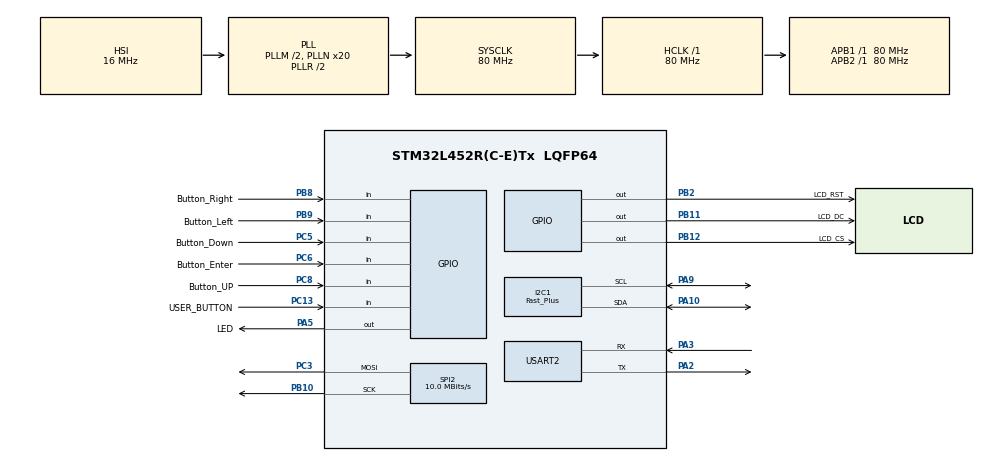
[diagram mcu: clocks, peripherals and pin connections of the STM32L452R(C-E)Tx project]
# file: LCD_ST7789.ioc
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Dma.Request0=SPI2_TX
Dma.SPI2_TX.0.Direction=DMA_MEMORY_TO_PERIPH
Dma.SPI2_TX.0.Instance=DMA1_Channel5
Dma.SPI2_TX.0.MemDataAlignment=DMA_MDATAALIGN_BYTE
Dma.SPI2_TX.0.MemInc=DMA_MINC_ENABLE
Dma.SPI2_TX.0.Mode=DMA_NORMAL
Dma.SPI2_TX.0.PeriphDataAlignment=DMA_PDATAALIGN_BYTE
Dma.SPI2_TX.0.PeriphInc=DMA_PINC_DISABLE
Dma.SPI2_TX.0.Priority=DMA_PRIORITY_LOW
I2C1.Analog_Filter=I2C_ANALOGFILTER_DISABLE
I2C1.I2C_Speed_Mode=I2C_Fast_Plus
I2C1.Timing=0x00301238
Mcu.Family=STM32L4
Mcu.Name=STM32L452R(C-E)Tx
Mcu.Package=LQFP64
NVIC.DMA1_Channel5_IRQn=true\:0\:0\:false\:false\:true\:false\:true\:true
NVIC.PriorityGroup=NVIC_PRIORITYGROUP_4
PA10.Mode=I2C
PA10.Signal=I2C1_SDA
PA13\ (JTMS/SWDIO).Mode=Serial_Wire
PA13\ (JTMS/SWDIO).Signal=SYS_JTMS-SWDIO
PA14\ (JTCK/SWCLK).Mode=Serial_Wire
PA14\ (JTCK/SWCLK).Signal=SYS_JTCK-SWCLK
PA2.Mode=Asynchronous
PA2.Signal=USART2_TX
PA3.Mode=Asynchronous
PA3.Signal=USART2_RX
PA5.GPIO_Label=LED
PA5.Signal=GPIO_Output
PA9.Mode=I2C
PA9.Signal=I2C1_SCL
PB10.Mode=TX_Only_Simplex_Unidirect_Master
PB10.Signal=SPI2_SCK
PB11.GPIO_Label=LCD_DC
PB11.Signal=GPIO_Output
PB12.GPIO_Label=LCD_CS
PB12.Signal=GPIO_Output
PB2.GPIO_Label=LCD_RST
PB2.Signal=GPIO_Output
PB8.GPIO_Label=Button_Right
PB8.Signal=GPIO_Input
PB9.GPIO_Label=Button_Left
PB9.Signal=GPIO_Input
PC13.GPIO_Label=USER_BUTTON
PC13.GPIO_PuPd=GPIO_NOPULL
PC13.Signal=GPIO_Input
PC3.Mode=TX_Only_Simplex_Unidirect_Master
PC3.Signal=SPI2_MOSI
PC5.GPIO_Label=Button_Down
PC5.Signal=GPIO_Input
PC6.GPIO_Label=Button_Enter
PC6.Signal=GPIO_Input
PC8.GPIO_Label=Button_UP
PC8.Signal=GPIO_Input
ProjectManager.HeapSize=0x200
ProjectManager.StackSize=0x2000
ProjectManager.TargetToolchain=STM32CubeIDE
RCC.ADCFreq_Value=32000000
RCC.AHBFreq_Value=80000000
RCC.APB1Freq_Value=80000000
RCC.APB1TimFreq_Value=80000000
RCC.APB2Freq_Value=80000000
RCC.APB2TimFreq_Value=80000000
RCC.CortexFreq_Value=80000000
RCC.HCLKFreq_Value=80000000
RCC.HSE_VALUE=8000000
RCC.HSI48_VALUE=48000000
RCC.HSI_VALUE=16000000
RCC.LSE_VALUE=32768
RCC.MSI_VALUE=4000000
RCC.PLLM=2
RCC.PLLN=20
RCC.PLLSourceVirtual=RCC_PLLSOURCE_HSI
RCC.SYSCLKFreq_VALUE=80000000
RCC.SYSCLKSource=RCC_SYSCLKSOURCE_PLLCLK
RCC.USBFreq_Value=32000000
RCC.VCOOutputFreq_Value=160000000
SPI2.BaudRatePrescaler=SPI_BAUDRATEPRESCALER_8
SPI2.CLKPolarity=SPI_POLARITY_HIGH
SPI2.CalculateBaudRate=10.0 MBits/s
SPI2.DataSize=SPI_DATASIZE_8BIT
SPI2.Direction=SPI_DIRECTION_2LINES
SPI2.Mode=SPI_MODE_MASTER
SPI2.NSSPMode=SPI_NSS_PULSE_ENABLE
SPI2.VirtualType=VM_MASTER
USART2.VirtualMode-Asynchronous=VM_ASYNC
VP_RNG_VS_RNG.Mode=RNG_Activate
board=custom

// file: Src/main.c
/* USER CODE BEGIN Header */
/**
  ******************************************************************************
  * @file           : main.c
  * @brief          : Main program body
  ******************************************************************************
  * @attention
  *
  * Copyright (c) 2022 STMicroelectronics.
  * All rights reserved.
  *
  * This software is licensed under terms that can be found in the LICENSE file
  * in the root directory of this software component.
  * If no LICENSE file comes with this software, it is provided AS-IS.
  *
  ******************************************************************************
  */
/* USER CODE END Header */
#include "main.h"
#include "dma.h"
#include "i2c.h"
#include "rng.h"
#include "spi.h"
#include "usart.h"
#include "gpio.h"

/* USER CODE BEGIN Includes */
#include "st7789.h"
#include "MLX90640.h"
#include "MLX90640_API.h"
#include "img.h"

/* USER CODE END Includes */

/* USER CODE BEGIN PD */
#define TA_SHIFT 8
/* USER CODE END PD */

/* USER CODE BEGIN PV */

float mlx90640To[768];
uint16_t eeMLX90640[832];
paramsMLX90640 mlx90640;
uint16_t mlx90640Frame[834];
int status = 0;
/* USER CODE END PV */

void SystemClock_Config(void);
/* USER CODE BEGIN PFP */
void drawImage() {
	int i, j;
	int x,y,w,h,pixel_size;

	if(getInterpolate())
		pixel_size=4;				//domyslnie pixel_size=6; 4
	else pixel_size=PX_SIZE;

	w=IMG_X_SIZE/6;					//IMG_X_SIZE/pixel_size; 6
	h=IMG_Y_SIZE/6;

	x=0;
	y=0;

	for(i=0; i<h; i++) {
		for(j=0; j<w; j++) {
			ST7789_DrawPixel_4px(x+pixel_size, y+pixel_size, getPixelColor(getImagePixel(j,i)));
		  	x+=(pixel_size);
		}
		y+=(pixel_size);
		x=0;
	}
}
/* USER CODE END PFP */

/* USER CODE BEGIN 0 */

void HAL_SPI_TxCpltCallback(SPI_HandleTypeDef *hspi)
{
	if (hspi == &hspi2)
	{
		//HAL_GPIO_WritePin(LCD_CS_GPIO_Port, LCD_CS_Pin, GPIO_PIN_SET);
		lcd_transfer_done();
	}
}
/* USER CODE END 0 */

int main(void)
{

  /* MCU Configuration--------------------------------------------------------*/

  /* Reset of all peripherals, Initializes the Flash interface and the Systick. */
  HAL_Init();

  /* Configure the system clock */
  SystemClock_Config();

  /* Initialize all configured peripherals */
  MX_GPIO_Init();
  MX_DMA_Init();
  MX_SPI2_Init();
  MX_RNG_Init();
  MX_I2C1_Init();
  MX_USART2_UART_Init();
  /* USER CODE BEGIN 2 */
  ST7789_Init();
  Init_MLX90640_GPIO(hi2c1);

  hi2c1.Init.Timing = 0x00501E63; //FM !!! must be change if clk is changed
  HAL_I2C_Init(&hi2c1);

  MLX90640_SetRefreshRate(MLX90640_RATE_16HZ);
  MLX90640_SetResolution(MLX90640_RES18);
  MLX90640_SetPattern(MLX90640_CHESS);
  MLX90640_SetMode(MLX90640_DEFAULT);

  MLX90640_DumpEE(eeMLX90640);
  status = MLX90640_ExtractParameters(eeMLX90640, &mlx90640);
  HAL_Delay(10);
  setColorMode(1);

  ST7789_Fill_Color(WHITE);

  uint32_t legendColor=0;
  int a;

  for(a=0; a<255; a++)
  {
	 legendColor=getPixelColor(255-a);
	 for(int j = 0; j < 6; j++) {
		ST7789_DrawPixel_4px(230 - a, 225 + j, legendColor);
	 }
  }

  /* USER CODE END 2 */

  /* Infinite loop */
  /* USER CODE BEGIN WHILE */
  while (1)
  {
	  char buff[20];
	  int value = 3;

	  status = MLX90640_GetFrameData(mlx90640Frame);

	  float Ta = MLX90640_GetTa(mlx90640Frame, &mlx90640);
	  float tr = Ta - TA_SHIFT; //Reflected temperature based on the sensor ambient temperature
	  float emissivity = 0.95;

	  MLX90640_CalculateTo(mlx90640Frame, &mlx90640, emissivity, tr, mlx90640To);
	  MLX90640_BadPixelsCorrection((&mlx90640)->brokenPixels, mlx90640To, 0, &mlx90640);
	  MLX90640_BadPixelsCorrection((&mlx90640)->outlierPixels, mlx90640To, 0, &mlx90640);
	  HAL_GPIO_WritePin(LED_GPIO_Port, LED_Pin, 1);

	  int i,j,k=0;
	  float varMaxTempVal=0.0, varMinTempVal=300;
	  for(i=0; i<24; i++)
	  {
		  for(j=0; j<32; j++)
		  {
			  float tmp = mlx90640To[k];
			  if(tmp > varMaxTempVal)
				  varMaxTempVal = (tmp); //find max Temp pixel
			  if(tmp < varMinTempVal)
				  varMinTempVal = (tmp); //find maxTemp pixel
			  setImagePixel(j,i,tmp);
			  k++;
		  }
	  }

//	  if(getAutoscale())
//	  {
//		  if(varMaxTempVal==varMinTempVal)varMaxTempVal+=1; // to avoid zero division
//		  setMaxTemp(varMaxTempVal);
//		  setMinTemp(varMinTempVal);
//	  }

	  if(getInterpolate()) {
		  interpolateBilinear(PX_X*INT_POINTS, PX_Y*INT_POINTS);
	  }
	  //while(lcd_is_busy()) {}
	  drawImage();

		//display max temp value
	  ST7789_WriteString(200, 210, gcvt(varMaxTempVal, value, buff), Font_7x10, WHITE, BLACK);
		//display min temp value
	  ST7789_WriteString(10, 210, gcvt(varMinTempVal, value, buff), Font_7x10, WHITE, BLACK);

    /* USER CODE END WHILE */

  }
}

void SystemClock_Config(void)
{
  RCC_OscInitTypeDef RCC_OscInitStruct = {0};
  RCC_ClkInitTypeDef RCC_ClkInitStruct = {0};

  /** Configure the main internal regulator output voltage
  */
  if (HAL_PWREx_ControlVoltageScaling(PWR_REGULATOR_VOLTAGE_SCALE1) != HAL_OK)
  {
    Error_Handler();
  }

  /** Initializes the RCC Oscillators according to the specified parameters
  * in the RCC_OscInitTypeDef structure.
  */
  RCC_OscInitStruct.OscillatorType = RCC_OSCILLATORTYPE_HSI;
  RCC_OscInitStruct.HSIState = RCC_HSI_ON;
  RCC_OscInitStruct.HSICalibrationValue = RCC_HSICALIBRATION_DEFAULT;
  RCC_OscInitStruct.PLL.PLLState = RCC_PLL_ON;
  RCC_OscInitStruct.PLL.PLLSource = RCC_PLLSOURCE_HSI;
  RCC_OscInitStruct.PLL.PLLM = 2;
  RCC_OscInitStruct.PLL.PLLN = 20;
  RCC_OscInitStruct.PLL.PLLP = RCC_PLLP_DIV7;
  RCC_OscInitStruct.PLL.PLLQ = RCC_PLLQ_DIV2;
  RCC_OscInitStruct.PLL.PLLR = RCC_PLLR_DIV2;
  if (HAL_RCC_OscConfig(&RCC_OscInitStruct) != HAL_OK)
  {
    Error_Handler();
  }

  /** Initializes the CPU, AHB and APB buses clocks
  */
  RCC_ClkInitStruct.ClockType = RCC_CLOCKTYPE_HCLK|RCC_CLOCKTYPE_SYSCLK
                              |RCC_CLOCKTYPE_PCLK1|RCC_CLOCKTYPE_PCLK2;
  RCC_ClkInitStruct.SYSCLKSource = RCC_SYSCLKSOURCE_PLLCLK;
  RCC_ClkInitStruct.AHBCLKDivider = RCC_SYSCLK_DIV1;
  RCC_ClkInitStruct.APB1CLKDivider = RCC_HCLK_DIV1;
  RCC_ClkInitStruct.APB2CLKDivider = RCC_HCLK_DIV1;

  if (HAL_RCC_ClockConfig(&RCC_ClkInitStruct, FLASH_LATENCY_4) != HAL_OK)
  {
    Error_Handler();
  }
}

void Error_Handler(void)
{
  __disable_irq();
  while (1)
  {
  }
}
